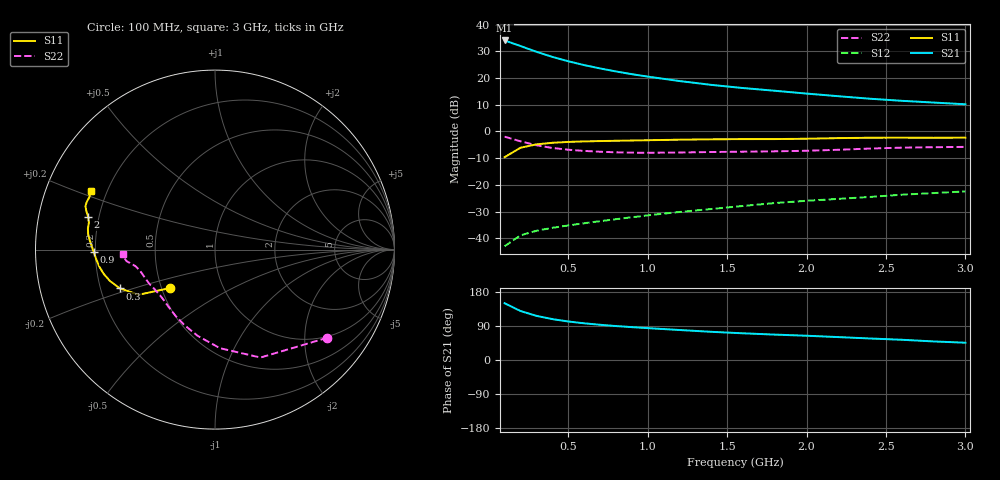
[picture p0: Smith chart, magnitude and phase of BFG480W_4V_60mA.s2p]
! Filename: 460BFG480.001
! Title: BFG480W
! Bias: Vce=4V; Ic=60mA
! Company: Philips Semiconductors NL
! User: Quality&Reliability T&D
! Measure time: 10 Nov 1999 / 12:03:11
#  MHz  S  MA  R 50
! Freq  S11  S21  S12  S22  :
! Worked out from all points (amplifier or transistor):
!   20 points, 100 MHz to 3 GHz, reference 50 ohm
!   highest |S21| = 34.0 dB at 100 MHz (marker M1)
!   |S21| within 3 dB of that: start of sweep to 242.6 MHz
!   unconditionally stable (mu >= 1): 886.8 MHz to end of sweep
!   at 400 MHz: K = 0.69, MSG = 32.0 dB, |S12| = -36.1 dB
!   at 1.2 GHz: K = 1.06, MAG = 23.0 dB, |S12| = -30.2 dB
!   at 3 GHz: K = 1.05, MAG = 14.9 dB, |S12| = -22.4 dB
!   S11 on the Smith chart (normalised r, x): 100 MHz: 0.55, -0.27; 300 MHz: 0.28, -0.18; 900 MHz: 0.19, -0.01; 2 GHz: 0.16, +0.12; 3 GHz: 0.14, +0.22
100  0.3298 -139.5  50.38 149.8  0.007111 67.4  0.796 -38.1
200  0.4941 -149.4  39.64 129.3  0.01135 57.5  0.6525 -67.2
300  0.5721 -157.8  30.93 116.5  0.01379 54.7  0.55 -87.1
400  0.6119 -163.5  24.83 107.9  0.01568 55.0  0.49 -101.4
500  0.6351 -167.8  20.57 101.7  0.01736 56.5  0.454 -112.0
600  0.6496 -171.2  17.44 96.8  0.01908 58.2  0.4315 -120.0
700  0.6593 -174.0  15.1 93.0  0.02088 60.4  0.4163 -126.3
800  0.6675 -176.5  13.27 89.6  0.02277 62.4  0.4064 -131.6
900  0.6754 -178.8  11.79 86.8  0.02469 64.5  0.4004 -136.1
1000  0.6838 179.2  10.61 84.1  0.02683 66.0  0.3983 -140.3
1200  0.6997 175.8  8.77 79.2  0.03103 68.4  0.4027 -147.0
1400  0.7117 173.2  7.433 74.4  0.03525 70.0  0.4115 -152.0
1600  0.7176 170.7  6.485 70.5  0.04022 71.5  0.4173 -155.8
1800  0.7184 167.9  5.766 67.0  0.04559 72.6  0.4238 -159.8
2000  0.7292 165.6  5.105 64.0  0.05031 73.7  0.4341 -164.3
2200  0.749 163.3  4.557 60.5  0.05457 73.9  0.4531 -168.3
2400  0.7612 161.4  4.088 56.8  0.05937 73.7  0.4776 -170.9
2600  0.7625 159.8  3.737 53.4  0.06536 73.3  0.4967 -172.5
2800  0.7589 157.5  3.468 49.0  0.07008 72.1  0.5058 -174.4
3000  0.7638 154.8  3.219 45.6  0.07543 71.6  0.5133 -177.4
